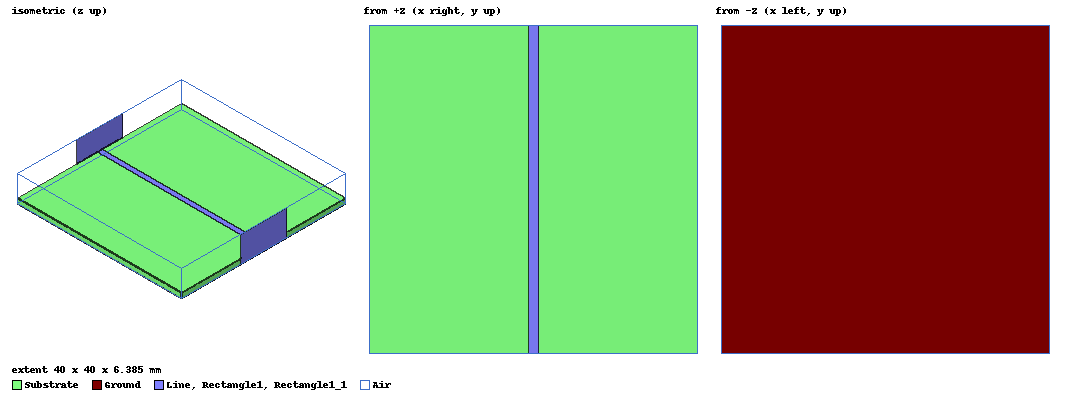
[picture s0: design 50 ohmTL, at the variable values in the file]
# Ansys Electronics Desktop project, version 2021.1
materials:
  vacuum: permittivity=1
  pec: conductivity=1e+30
  copper: permeability=0.999991 conductivity=58000000
  Substrate: permittivity=10.8 dielectric_loss_tangent=0.0023

design 50 ohmTL (HFSS, DrivenModal, model units mm)
options: Save_Adaptive_support_files
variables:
  t = 0.035mm
  h = 1.27mm
  w = 1.1mm
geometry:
  Air [vacuum] = box(corner=(-20mm, -20mm, 0), size=(40mm, 40mm, 5*h))
  Ground [copper] = box(corner=(-20mm, -20mm, 0mm), size=(40mm, 40mm, -t))
  Substrate [Substrate] = box(corner=(-20mm, -20mm, 0mm), size=(40mm, 40mm, h))
  Line [copper] = box(corner=(-w/2, -20mm, h), size=(w, 40mm, t))
  Rectangle1 = rectangle(corner=(-10*w/2, 20mm, 5* h), z_size=-5*h, x_size=10*w)
  Rectangle1_1 = Rectangle1.duplicate_around_axis(axis=Z, angle=180deg, total=2)
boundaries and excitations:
  P1: Wave Port Objects=Rectangle1 NumModes=1 Modes{Mode1{IntLine{middle of Substrate.edge(8 of 12) -> middle of Line.edge(2 of 12)} CharImp=Zpi}}
  P2: Wave Port Objects=Rectangle1_1 NumModes=1 Modes{Mode1{IntLine{middle of Substrate.edge(6 of 12) -> middle of Line.edge(4 of 12)} CharImp=Zpi}}
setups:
  Setup1: HfssDriven Frequency=6GHz MaxDeltaS=0.02 MaximumPasses=15 MinimumPasses=10 MinimumConvergedPasses=2 PercentRefinement=20 BasisOrder=1 PortAccuracy=2
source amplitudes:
  P1:1: 1 0deg
  P2:1: 0 0deg
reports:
  S Parameter Plot 1: dB(S(P1,P1)), dB(S(P2,P1)), dB(S(P1,P2)), dB(S(P2,P2)) vs Freq on Setup1 : LastAdaptive
